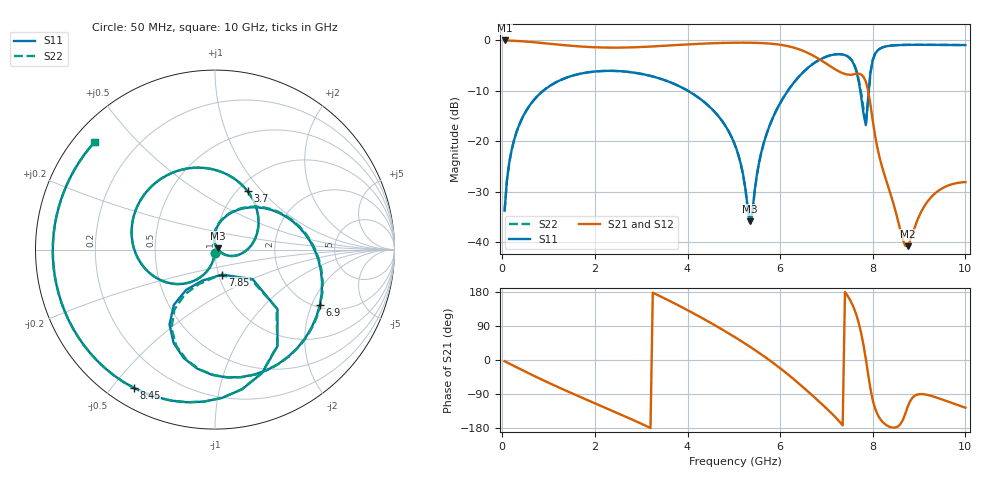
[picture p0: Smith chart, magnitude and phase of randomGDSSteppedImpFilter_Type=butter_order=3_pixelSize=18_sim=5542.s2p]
! freq	dB(S11)	phase(S11)	dB(S12)	phase(S12)
!  dB(S21)	phase(S21)	dB(S22)	phase(S22)
!S-par simulation data
#  GHz  S  DB  R 50
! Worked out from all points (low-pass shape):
!   200 points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, 50 MHz to 10 GHz, reference 50 ohm
!   highest |S21| = 0.00 dB at 50 MHz (marker M1); lowest = -40.8 dB at 8.75 GHz (marker M2)
!   |S21| within 3 dB of the highest: start of sweep to 6.711 GHz
!   lowest |S11| = -35.9 dB at 5.35 GHz (marker M3), VSWR 1.03, Z = 51.4 + j0.798 ohm
!   |S11| at or under -10 dB: start of sweep to 882.1 MHz; 4.01 GHz to 6.165 GHz (2.155 GHz wide, 42.4 % of centre); 7.729 GHz to 7.914 GHz (184.6 MHz wide, 2.36 % of centre)
!   |S22| runs from -36.6 to -0.9 dB; largest |S21 - S12| = 0
!   S11 on the Smith chart (normalised r, x): 50 MHz: 1.00, -0.04; 3.7 GHz: 1.11, +0.84; 6.9 GHz: 2.10, -2.30; 7.85 GHz: 1.04, -0.30; 8.45 GHz: 0.07, -0.57; 10 GHz: 0.06, +0.38
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0.05  -33.75 -93.1  -0.00 -3.2  -0.00 -3.2  -33.75 -93.1
0.2  -21.80 -102.8  -0.05 -12.5  -0.05 -12.5  -21.80 -102.8
0.5  -14.20 -121.4  -0.21 -30.8  -0.21 -30.8  -14.20 -121.4
1.75  -6.48 168.5  -1.24 -101.0  -1.24 -101.0  -6.48 168.5
3.4  -7.55 78.8  -1.11 168.8  -1.11 168.8  -7.55 78.9
3.7  -8.57 60.9  -0.95 150.5  -0.95 150.5  -8.57 61.0
4.45  -12.93 13.4  -0.59 101.5  -0.59 101.5  -12.93 13.4
5.05  -21.37 -23.7  -0.45 58.2  -0.45 58.2  -21.39 -24.1
5.35  -35.87 28.8  -0.45 34.8  -0.45 34.8  -36.62 29.0
5.75  -17.43 83.4  -0.60 1.2  -0.60 1.2  -17.44 84.6
6.3  -8.31 35.1  -1.44 -51.3  -1.44 -51.3  -8.31 36.0
6.7  -4.71 -6.3  -2.95 -94.0  -2.95 -94.0  -4.70 -5.4
6.9  -3.60 -27.8  -4.03 -116.3  -4.03 -116.3  -3.59 -26.9
7.5  -3.48 -98.6  -6.81 160.6  -6.81 160.6  -3.42 -97.1
7.7  -8.30 -126.6  -6.59 96.4  -6.59 96.4  -7.90 -124.1
7.85  -16.80 -74.0  -8.14 2.7  -8.14 2.7  -16.73 -82.2
8  -3.86 -57.2  -15.95 -106.1  -15.95 -106.1  -3.92 -57.0
8.35  -1.08 -111.2  -29.48 -175.6  -29.48 -175.6  -1.08 -111.1
8.45  -0.98 -120.4  -32.49 -178.5  -32.49 -178.5  -0.98 -120.3
8.75  -0.88 -143.9  -40.80 -124.9  -40.80 -124.9  -0.87 -143.7
9.25  -0.88 -176.8  -31.19 -94.3  -31.19 -94.3  -0.88 -176.6
10  -0.92 138.1  -28.09 -125.9  -28.09 -125.9  -0.92 138.4
